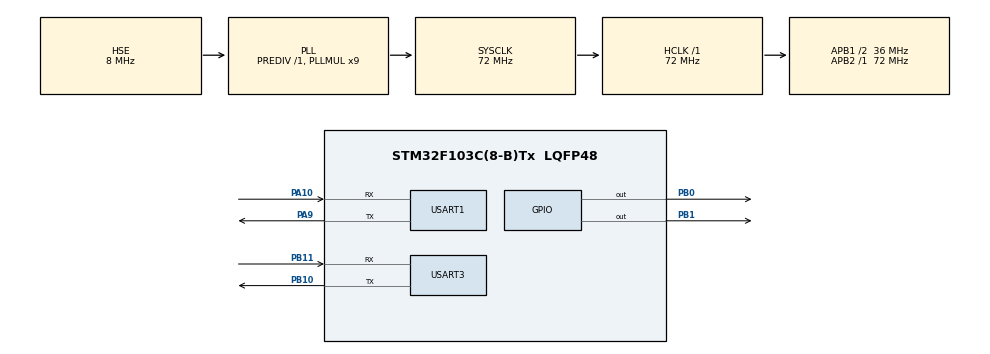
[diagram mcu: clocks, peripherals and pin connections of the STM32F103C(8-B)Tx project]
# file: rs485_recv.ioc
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Mcu.Family=STM32F1
Mcu.Name=STM32F103C(8-B)Tx
Mcu.Package=LQFP48
NVIC.PriorityGroup=NVIC_PRIORITYGROUP_4
NVIC.USART3_IRQn=true\:0\:0\:false\:false\:true\:true\:true\:true
PA10.Mode=Asynchronous
PA10.Signal=USART1_RX
PA13.Mode=Serial_Wire
PA13.Signal=SYS_JTMS-SWDIO
PA14.Mode=Serial_Wire
PA14.Signal=SYS_JTCK-SWCLK
PA9.Mode=Asynchronous
PA9.Signal=USART1_TX
PB0.Signal=GPIO_Output
PB1.Signal=GPIO_Output
PB10.Mode=Asynchronous
PB10.Signal=USART3_TX
PB11.Mode=Asynchronous
PB11.Signal=USART3_RX
PD0-OSC_IN.Mode=HSE-External-Oscillator
PD0-OSC_IN.Signal=RCC_OSC_IN
PD1-OSC_OUT.Mode=HSE-External-Oscillator
PD1-OSC_OUT.Signal=RCC_OSC_OUT
ProjectManager.HeapSize=0x200
ProjectManager.StackSize=0x400
ProjectManager.TargetToolchain=STM32CubeIDE
RCC.AHBFreq_Value=72000000
RCC.APB1CLKDivider=RCC_HCLK_DIV2
RCC.APB1Freq_Value=36000000
RCC.APB1TimFreq_Value=72000000
RCC.APB2Freq_Value=72000000
RCC.APB2TimFreq_Value=72000000
RCC.HCLKFreq_Value=72000000
RCC.PLLMUL=RCC_PLL_MUL9
RCC.PLLSourceVirtual=RCC_PLLSOURCE_HSE
RCC.SYSCLKFreq_VALUE=72000000
RCC.SYSCLKSource=RCC_SYSCLKSOURCE_PLLCLK
RCC.USBFreq_Value=72000000
USART1.VirtualMode=VM_ASYNC
USART3.VirtualMode=VM_ASYNC
board=custom

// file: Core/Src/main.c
/* USER CODE BEGIN Header */
/**
  ******************************************************************************
  * @file           : main.c
  * @brief          : Main program body
  ******************************************************************************
  * @attention
  *
  * Copyright (c) 2023 STMicroelectronics.
  * All rights reserved.
  *
  * This software is licensed under terms that can be found in the LICENSE file
  * in the root directory of this software component.
  * If no LICENSE file comes with this software, it is provided AS-IS.
  *
  ******************************************************************************
  */
/* USER CODE END Header */
#include "main.h"

/* USER CODE BEGIN Includes */
#include <string.h>
#include <stdio.h>
/* USER CODE END Includes */

/* USER CODE BEGIN PTD */
#define RS485_EN(x) (x?(HAL_GPIO_WritePin(GPIOB, GPIO_PIN_0, GPIO_PIN_SET),HAL_GPIO_WritePin(GPIOB, GPIO_PIN_1, GPIO_PIN_SET)):(HAL_GPIO_WritePin(GPIOB, GPIO_PIN_0, GPIO_PIN_RESET),HAL_GPIO_WritePin(GPIOB, GPIO_PIN_1, GPIO_PIN_RESET)))

/* USER CODE END PTD */

UART_HandleTypeDef huart1;
UART_HandleTypeDef huart3;

void SystemClock_Config(void);
static void MX_GPIO_Init(void);
static void MX_USART3_UART_Init(void);
static void MX_USART1_UART_Init(void);

/* USER CODE BEGIN 0 */
#define MAX_RS485_BUF 100

typedef struct {
	uint8_t buf[MAX_RS485_BUF];
	uint8_t in;
	uint8_t out;
	uint8_t size;
} rs485_t;
rs485_t rs485_buf;
uint8_t rx_buf;

uint8_t get_rs485_data(uint8_t* buf)
{
	if(buf == NULL) {
		return 0;
	}

	if(rs485_buf.size > 0)
	{
		(*buf) = rs485_buf.buf[rs485_buf.out];
		rs485_buf.out = (rs485_buf.out+1) % MAX_RS485_BUF;
	  	rs485_buf.size--;
	  	return 1;
	} else {
		return 0;
	}
}

int _write(int fd, char *ptr, int len)
{
	HAL_UART_Transmit(&huart1, (unsigned char*)ptr, len, HAL_MAX_DELAY);
	return len;
}

/* USER CODE END 0 */

int main(void)
{
  /* USER CODE BEGIN 1 */
	uint8_t buf;
	uint8_t len;
  /* USER CODE END 1 */

  /* MCU Configuration--------------------------------------------------------*/

  /* Reset of all peripherals, Initializes the Flash interface and the Systick. */
  HAL_Init();

  /* Configure the system clock */
  SystemClock_Config();

  /* Initialize all configured peripherals */
  MX_GPIO_Init();
  MX_USART3_UART_Init();
  MX_USART1_UART_Init();
  /* USER CODE BEGIN 2 */
  rs485_buf.in = 0;
  rs485_buf.out = 0;
  rs485_buf.size = 0;
  HAL_UART_Receive_IT(&huart3, &rx_buf, 1);
  RS485_EN(0); // rs485 read mode
  printf("ready to listen\n");

  /* USER CODE END 2 */

  /* Infinite loop */
  /* USER CODE BEGIN WHILE */
  while (1)
  {
	  if(rs485_buf.size)
	  {
		  len = rs485_buf.size;
		  for(uint8_t i=0;i<len;i++)
		  {
			  if(get_rs485_data(&buf)) {
				  printf("%c", buf);
			  }
		  }
	  }
    /* USER CODE END WHILE */

  }
}

void SystemClock_Config(void)
{
  RCC_OscInitTypeDef RCC_OscInitStruct = {0};
  RCC_ClkInitTypeDef RCC_ClkInitStruct = {0};

  /** Initializes the RCC Oscillators according to the specified parameters
  * in the RCC_OscInitTypeDef structure.
  */
  RCC_OscInitStruct.OscillatorType = RCC_OSCILLATORTYPE_HSE;
  RCC_OscInitStruct.HSEState = RCC_HSE_ON;
  RCC_OscInitStruct.HSEPredivValue = RCC_HSE_PREDIV_DIV1;
  RCC_OscInitStruct.HSIState = RCC_HSI_ON;
  RCC_OscInitStruct.PLL.PLLState = RCC_PLL_ON;
  RCC_OscInitStruct.PLL.PLLSource = RCC_PLLSOURCE_HSE;
  RCC_OscInitStruct.PLL.PLLMUL = RCC_PLL_MUL9;
  if (HAL_RCC_OscConfig(&RCC_OscInitStruct) != HAL_OK)
  {
    Error_Handler();
  }

  /** Initializes the CPU, AHB and APB buses clocks
  */
  RCC_ClkInitStruct.ClockType = RCC_CLOCKTYPE_HCLK|RCC_CLOCKTYPE_SYSCLK
                              |RCC_CLOCKTYPE_PCLK1|RCC_CLOCKTYPE_PCLK2;
  RCC_ClkInitStruct.SYSCLKSource = RCC_SYSCLKSOURCE_PLLCLK;
  RCC_ClkInitStruct.AHBCLKDivider = RCC_SYSCLK_DIV1;
  RCC_ClkInitStruct.APB1CLKDivider = RCC_HCLK_DIV2;
  RCC_ClkInitStruct.APB2CLKDivider = RCC_HCLK_DIV1;

  if (HAL_RCC_ClockConfig(&RCC_ClkInitStruct, FLASH_LATENCY_2) != HAL_OK)
  {
    Error_Handler();
  }
}

static void MX_USART1_UART_Init(void)
{

  huart1.Instance = USART1;
  huart1.Init.BaudRate = 115200;
  huart1.Init.WordLength = UART_WORDLENGTH_8B;
  huart1.Init.StopBits = UART_STOPBITS_1;
  huart1.Init.Parity = UART_PARITY_NONE;
  huart1.Init.Mode = UART_MODE_TX_RX;
  huart1.Init.HwFlowCtl = UART_HWCONTROL_NONE;
  huart1.Init.OverSampling = UART_OVERSAMPLING_16;
  if (HAL_UART_Init(&huart1) != HAL_OK)
  {
    Error_Handler();
  }

}

static void MX_USART3_UART_Init(void)
{

  huart3.Instance = USART3;
  huart3.Init.BaudRate = 115200;
  huart3.Init.WordLength = UART_WORDLENGTH_8B;
  huart3.Init.StopBits = UART_STOPBITS_1;
  huart3.Init.Parity = UART_PARITY_NONE;
  huart3.Init.Mode = UART_MODE_TX_RX;
  huart3.Init.HwFlowCtl = UART_HWCONTROL_NONE;
  huart3.Init.OverSampling = UART_OVERSAMPLING_16;
  if (HAL_UART_Init(&huart3) != HAL_OK)
  {
    Error_Handler();
  }

}

static void MX_GPIO_Init(void)
{
  GPIO_InitTypeDef GPIO_InitStruct = {0};

  /* GPIO Ports Clock Enable */
  __HAL_RCC_GPIOD_CLK_ENABLE();
  __HAL_RCC_GPIOB_CLK_ENABLE();
  __HAL_RCC_GPIOA_CLK_ENABLE();

  /*Configure GPIO pin Output Level */
  HAL_GPIO_WritePin(GPIOB, GPIO_PIN_0|GPIO_PIN_1, GPIO_PIN_RESET);

  /*Configure GPIO pins : PB0 PB1 */
  GPIO_InitStruct.Pin = GPIO_PIN_0|GPIO_PIN_1;
  GPIO_InitStruct.Mode = GPIO_MODE_OUTPUT_PP;
  GPIO_InitStruct.Pull = GPIO_NOPULL;
  GPIO_InitStruct.Speed = GPIO_SPEED_FREQ_LOW;
  HAL_GPIO_Init(GPIOB, &GPIO_InitStruct);

}

/* USER CODE BEGIN 4 */
void HAL_UART_RxCpltCallback(UART_HandleTypeDef *huart)
{
	if(huart->Instance == huart3.Instance)
	{
		if(rs485_buf.size < MAX_RS485_BUF) {
			rs485_buf.buf[rs485_buf.in] = rx_buf;
			rs485_buf.in = (rs485_buf.in+1) % MAX_RS485_BUF;
			rs485_buf.size++;
		} else {
			//queue is full
		}
	}
	HAL_UART_Receive_IT(&huart3, &rx_buf, 1);
}
/* USER CODE END 4 */

void Error_Handler(void)
{
  __disable_irq();
  while (1)
  {
  }
}
